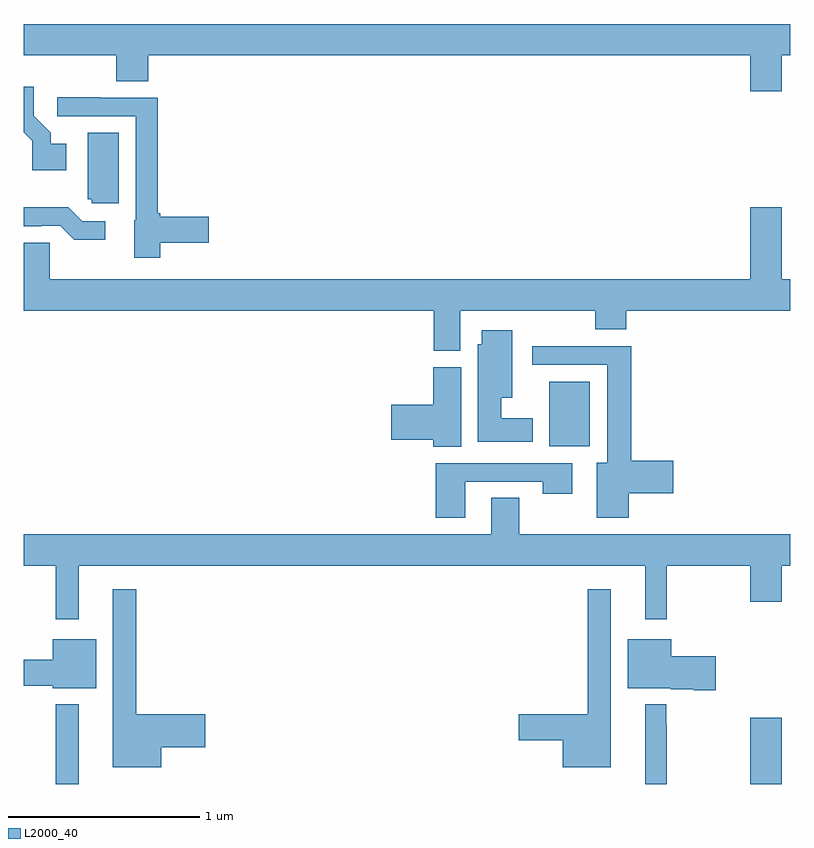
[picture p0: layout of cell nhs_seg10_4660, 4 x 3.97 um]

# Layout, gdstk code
import gdstk
lib = gdstk.Library(unit=1e-6, precision=1e-09)
def R(c, l, rs):  # rectangles x0, y0, x1, y1
    for r in rs: c.add(gdstk.rectangle(r[:2], r[2:], *l))
def P(c, l, *ps):  # polygons
    for p in ps: c.add(gdstk.Polygon(p, *l))
L2000_40 = (2000, 40)

nhs_seg10_4660 = lib.new_cell('nhs_seg10_4660')
R(nhs_seg10_4660, L2000_40, [(377.166,1308.5,377.287,1308.916), (380.792,1308.5,380.956,1308.847), (379.742,1310.264,379.954,1310.599)])
P(nhs_seg10_4660, L2000_40, [(380.956,1312.304),(381,1312.304),(381,1312.468),(377,1312.468),(377,1312.304),(377.483,1312.304),(377.483,1312.168),(377.648,1312.168),(377.648,1312.304),(380.792,1312.304),(380.792,1312.116),(380.956,1312.116)],
  [(377.221,1311.844),(377.14,1311.844),(377.14,1311.899),(377.05,1311.989),(377.05,1312.141),(377,1312.141),(377,1311.902),(377.043,1311.859),(377.043,1311.704),(377.221,1311.704)],
  [(377.712,1311.326),(377.965,1311.326),(377.965,1311.461),(377.712,1311.461),(377.712,1311.479),(377.699,1311.479),(377.699,1312.083),(377.399,1312.083),(377.399,1312.086),(377.175,1312.086),(377.175,1311.987),(377.583,1311.987),(377.583,1311.444),(377.576,1311.444),(377.576,1311.248),(377.712,1311.248)],
  [(377.494,1311.901),(377.333,1311.901),(377.333,1311.552),(377.355,1311.552),(377.355,1311.531),(377.494,1311.531)],
  [(379.279,1310.972),(379.984,1310.972),(379.984,1310.873),(380.144,1310.873),(380.144,1310.972),(381,1310.972),(381,1311.136),(380.956,1311.136),(380.956,1311.511),(380.792,1311.511),(380.792,1311.136),(377.136,1311.136),(377.136,1311.326),(377,1311.326),(377,1310.972),(379.139,1310.972),(379.139,1310.761),(379.279,1310.761)],
  [(377.425,1311.438),(377.304,1311.438),(377.231,1311.511),(377,1311.511),(377,1311.411),(377.09,1311.411),(377.09,1311.414),(377.19,1311.414),(377.263,1311.341),(377.425,1311.341)],
  [(379.657,1310.41),(379.492,1310.41),(379.492,1310.516),(379.549,1310.516),(379.549,1310.869),(379.391,1310.869),(379.391,1310.796),(379.37,1310.796),(379.37,1310.288),(379.657,1310.288)],
  [(380.158,1310.018),(380.389,1310.018),(380.389,1310.189),(380.171,1310.189),(380.171,1310.786),(379.653,1310.786),(379.653,1310.688),(380.045,1310.688),(380.045,1310.176),(379.991,1310.176),(379.991,1309.89),(380.158,1309.89)],
  [(379.282,1310.676),(379.136,1310.676),(379.136,1310.48),(378.918,1310.48),(378.918,1310.297),(379.136,1310.297),(379.136,1310.26),(379.282,1310.26)],
  [(379.303,1310.079),(379.708,1310.079),(379.708,1310.016),(379.864,1310.016),(379.864,1310.175),(379.151,1310.175),(379.151,1309.89),(379.303,1309.89)],
  [(377.287,1309.64),(380.243,1309.64),(380.243,1309.359),(380.357,1309.359),(380.357,1309.64),(380.792,1309.64),(380.792,1309.452),(380.956,1309.452),(380.956,1309.64),(381,1309.64),(381,1309.804),(379.587,1309.804),(379.587,1309.994),(379.439,1309.994),(379.439,1309.804),(377,1309.804),(377,1309.64),(377.166,1309.64),(377.166,1309.359),(377.287,1309.359)],
  [(380.065,1309.516),(379.944,1309.516),(379.944,1308.863),(379.584,1308.863),(379.584,1308.728),(379.814,1308.728),(379.814,1308.587),(380.065,1308.587)],
  [(377.716,1308.692),(377.947,1308.692),(377.947,1308.863),(377.587,1308.863),(377.587,1309.516),(377.465,1309.516),(377.465,1308.587),(377.716,1308.587)],
  [(377.377,1309.255),(377.15,1309.255),(377.15,1309.148),(377,1309.148),(377,1309.012),(377.15,1309.012),(377.15,1309.001),(377.377,1309.001)],
  [(380.611,1309.167),(380.38,1309.167),(380.38,1309.255),(380.153,1309.255),(380.153,1309.001),(380.376,1309.001),(380.376,1308.994),(380.498,1308.994),(380.498,1308.989),(380.611,1308.989)],
  [(380.357,1308.809),(380.353,1308.809),(380.353,1308.916),(380.243,1308.916),(380.243,1308.5),(380.357,1308.5)])

lib.write_gds('nhs_seg10_4660.gds')
